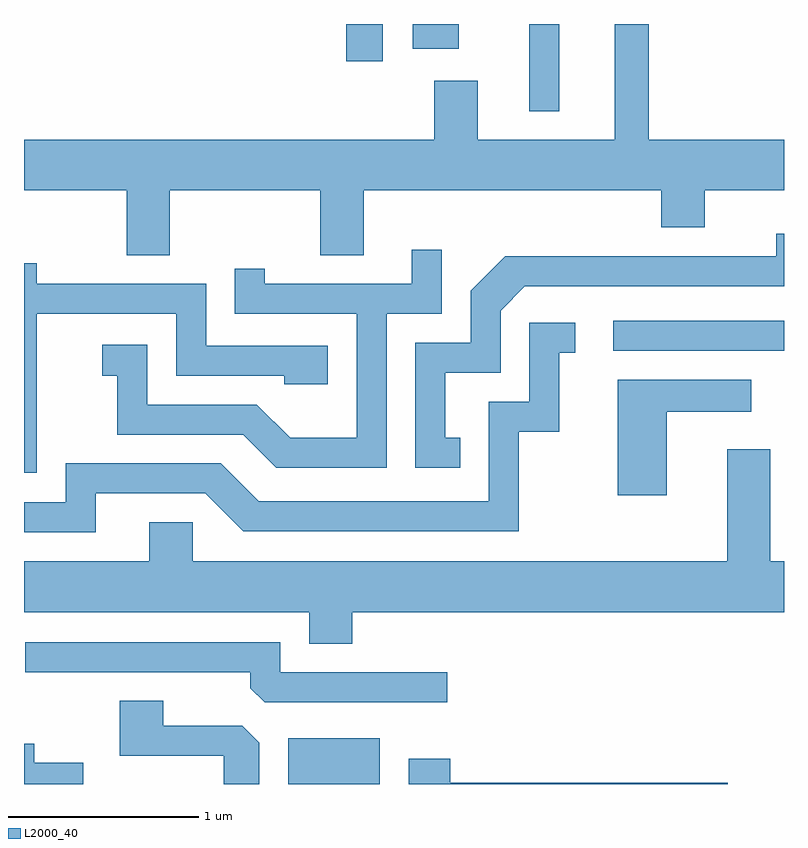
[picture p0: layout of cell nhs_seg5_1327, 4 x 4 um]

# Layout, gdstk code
import gdstk
lib = gdstk.Library(unit=1e-6, precision=1e-09)
def R(c, l, rs):  # rectangles x0, y0, x1, y1
    for r in rs: c.add(gdstk.rectangle(r[:2], r[2:], *l))
def P(c, l, *ps):  # polygons
    for p in ps: c.add(gdstk.Polygon(p, *l))
L2000_40 = (2000, 40)

nhs_seg5_1327 = lib.new_cell('nhs_seg5_1327')
R(nhs_seg5_1327, L2000_40, [(225.001,1498.072,225.484,1498.314), (226.713,1500.351,227.611,1500.509), (226.271,1501.613,226.429,1502.072), (225.306,1501.876,225.499,1502.072), (225.656,1501.941,225.899,1502.072)])
P(nhs_seg5_1327, L2000_40, [(224.379,1501.196),(225.171,1501.196),(225.171,1500.856),(225.399,1500.856),(225.399,1501.196),(226.966,1501.196),(226.966,1501.001),(227.194,1501.001),(227.194,1501.196),(227.611,1501.196),(227.611,1501.464),(226.899,1501.464),(226.899,1502.072),(226.721,1502.072),(226.721,1501.464),(225.999,1501.464),(225.999,1501.774),(225.771,1501.774),(225.771,1501.464),(223.611,1501.464),(223.611,1501.196),(224.151,1501.196),(224.151,1500.856),(224.379,1500.856)],
  [(225.908,1499.894),(225.829,1499.894),(225.829,1500.236),(226.119,1500.236),(226.119,1500.564),(226.247,1500.691),(227.611,1500.691),(227.611,1500.969),(227.571,1500.969),(227.571,1500.849),(226.144,1500.849),(225.961,1500.667),(225.961,1500.394),(225.671,1500.394),(225.671,1499.736),(225.908,1499.736)],
  [(225.519,1500.546),(225.809,1500.546),(225.809,1500.883),(225.651,1500.883),(225.651,1500.704),(224.879,1500.704),(224.879,1500.783),(224.721,1500.783),(224.721,1500.546),(225.361,1500.546),(225.361,1499.894),(225.012,1499.894),(224.837,1500.069),(224.259,1500.069),(224.259,1500.384),(224.023,1500.384),(224.023,1500.221),(224.101,1500.221),(224.101,1499.911),(224.764,1499.911),(224.939,1499.736),(225.519,1499.736)],
  [(223.679,1500.546),(224.411,1500.546),(224.411,1500.221),(224.981,1500.221),(224.981,1500.176),(225.209,1500.176),(225.209,1500.379),(224.569,1500.379),(224.569,1500.704),(223.679,1500.704),(223.679,1500.814),(223.611,1500.814),(223.611,1499.711),(223.679,1499.711)],
  [(223.989,1499.601),(224.564,1499.601),(224.764,1499.401),(226.214,1499.401),(226.214,1499.926),(226.429,1499.926),(226.429,1500.341),(226.513,1500.341),(226.513,1500.499),(226.271,1500.499),(226.271,1500.084),(226.056,1500.084),(226.056,1499.559),(224.847,1499.559),(224.647,1499.759),(223.831,1499.759),(223.831,1499.554),(223.611,1499.554),(223.611,1499.396),(223.989,1499.396)],
  [(226.994,1500.031),(227.438,1500.031),(227.438,1500.199),(226.736,1500.199),(226.736,1499.591),(226.994,1499.591)],
  [(225.339,1498.976),(227.611,1498.976),(227.611,1499.244),(227.539,1499.244),(227.539,1499.834),(227.311,1499.834),(227.311,1499.244),(224.499,1499.244),(224.499,1499.449),(224.271,1499.449),(224.271,1499.244),(223.611,1499.244),(223.611,1498.976),(225.111,1498.976),(225.111,1498.811),(225.339,1498.811)],
  [(225.838,1498.659),(224.959,1498.659),(224.959,1498.819),(223.618,1498.819),(223.618,1498.661),(224.801,1498.661),(224.801,1498.577),(224.877,1498.501),(225.838,1498.501)],
  [(224.849,1498.289),(224.759,1498.379),(224.344,1498.379),(224.344,1498.509),(224.116,1498.509),(224.116,1498.221),(224.661,1498.221),(224.661,1498.072),(224.849,1498.072)],
  [(223.924,1498.184),(223.664,1498.184),(223.664,1498.284),(223.611,1498.284),(223.611,1498.072),(223.924,1498.072)],
  [(227.314,1498.079),(225.854,1498.079),(225.854,1498.204),(225.636,1498.204),(225.636,1498.072),(227.314,1498.072)])

lib.write_gds('nhs_seg5_1327.gds')
